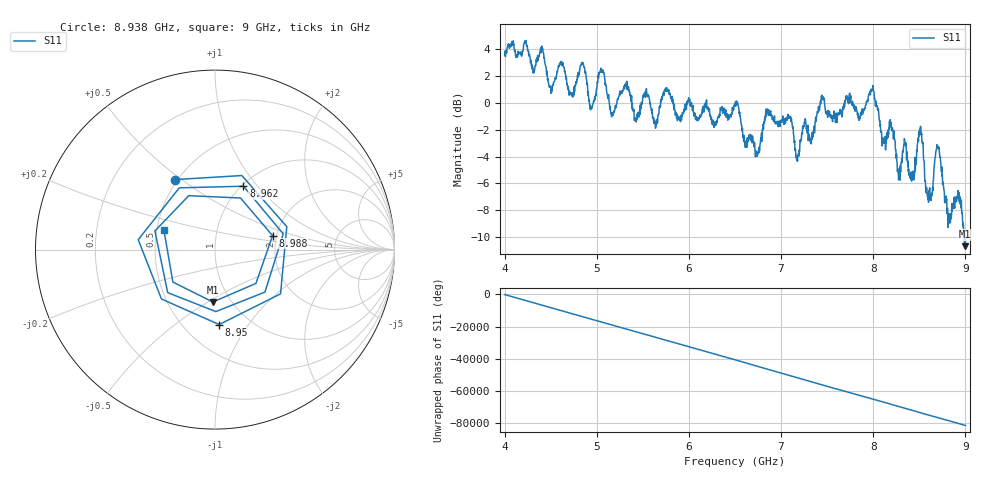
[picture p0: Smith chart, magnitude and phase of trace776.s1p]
! Created with skrf 1.8.0 (http://scikit-rf.org).
# Hz S RI R 50.0
!freq ReS11 ImS11
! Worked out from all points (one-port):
!   1601 points, 4 GHz to 9 GHz, reference 50 ohm
!   lowest |S11| = -10.7 dB at 8.994 GHz (marker M1), VSWR 1.83, Z = 41.2 - j26.3 ohm
!   |S11| at or under -10 dB: 8.989178 GHz to end of sweep
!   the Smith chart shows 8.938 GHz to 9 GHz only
!   S11 on the Smith chart (normalised r, x): 8.938 GHz: 0.49, +0.48; 8.95 GHz: 0.73, -0.74; 8.962 GHz: 1.02, +0.85; 8.988 GHz: 1.91, +0.33; 9 GHz: 0.55, +0.13
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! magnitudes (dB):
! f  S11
! 4 GHz  3.6
! 4.625 GHz  2.8
! 4.725 GHz  0.6
! 4.853 GHz  2.9
! 4.941 GHz  -0.4
! 5.047 GHz  2.3
! 5.25 GHz  0.7
! 5.875 GHz  -1.3
! 6.5 GHz  -0.2
! 6.741 GHz  -4.0
! 6.859 GHz  -0.8
! 7.125 GHz  -1.9
! 7.175 GHz  -4.1
! 7.444 GHz  0.6
! 7.75 GHz  0.3
! 7.991 GHz  1.1
! 8.109 GHz  -2.9
! 8.375 GHz  -4.8
! 8.512 GHz  -1.7
! 8.597 GHz  -6.7
! 8.7 GHz  -3.2
! 8.825 GHz  -8.8
! 8.938 GHz  -7.0
! 8.95 GHz  -7.6
! 8.962 GHz  -8.2
! 8.988 GHz  -9.6
! 8.994 GHz  -10.7
! 9 GHz  -10.3
